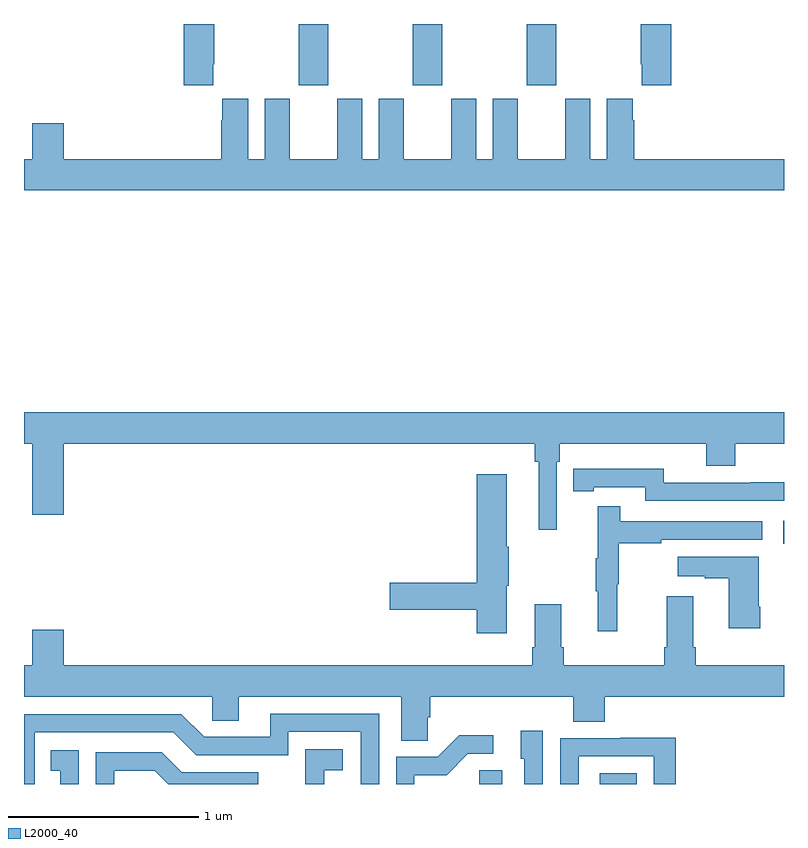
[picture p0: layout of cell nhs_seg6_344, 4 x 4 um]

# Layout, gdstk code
import gdstk
lib = gdstk.Library(unit=1e-6, precision=1e-09)
def R(c, l, rs):  # rectangles x0, y0, x1, y1
    for r in rs: c.add(gdstk.rectangle(r[:2], r[2:], *l))
def A(c, l, x, y, w, h, nx, ny, dx, dy):  # array of equal rectangles
    R(c, l, [(x+i*dx, y+j*dy, x+i*dx+w, y+j*dy+h) for i in range(nx) for j in range(ny)])
def P(c, l, *ps):  # polygons
    for p in ps: c.add(gdstk.Polygon(p, *l))
L2000_40 = (2000, 40)

nhs_seg6_344 = lib.new_cell('nhs_seg6_344')
A(nhs_seg6_344, L2000_40, 130.447, 993.177, 0.155, 0.323, 3, 1, 0.6, 0)
R(nhs_seg6_344, L2000_40, [(131.397,989.5,131.518,989.573), (132.029,989.5,132.226,989.557), (132.996,990.765,133,990.886)])
P(nhs_seg6_344, L2000_40, [(129.997,993.289),(130.002,993.289),(130.002,993.5),(129.842,993.5),(129.842,993.177),(129.997,993.177)],
  [(132.407,993.5),(132.247,993.5),(132.247,993.289),(132.251,993.289),(132.251,993.177),(132.407,993.177)],
  [(133,992.788),(132.212,992.788),(132.212,992.993),(132.205,992.993),(132.205,993.106),(132.068,993.106),(132.068,992.788),(131.98,992.788),(131.98,993.106),(131.849,993.106),(131.849,992.788),(131.599,992.788),(131.599,993.106),(131.468,993.106),(131.468,992.788),(131.38,992.788),(131.38,993.106),(131.249,993.106),(131.249,992.788),(130.999,992.788),(130.999,993.106),(130.868,993.106),(130.868,992.788),(130.78,992.788),(130.78,993.106),(130.649,993.106),(130.649,992.788),(130.399,992.788),(130.399,993.106),(130.268,993.106),(130.268,992.788),(130.18,992.788),(130.18,993.106),(130.043,993.106),(130.043,992.993),(130.037,992.993),(130.037,992.788),(129.208,992.788),(129.208,992.977),(129.044,992.977),(129.044,992.788),(129,992.788),(129,992.624),(133,992.624)],
  [(131.805,991.196),(131.819,991.196),(131.819,991.292),(132.59,991.292),(132.59,991.175),(132.743,991.175),(132.743,991.292),(133,991.292),(133,991.456),(129,991.456),(129,991.292),(129.044,991.292),(129.044,990.918),(129.208,990.918),(129.208,991.292),(131.689,991.292),(131.689,991.196),(131.708,991.196),(131.708,990.837),(131.805,990.837)],
  [(133,991.088),(132.826,991.088),(132.826,991.086),(132.366,991.086),(132.366,991.159),(131.998,991.159),(131.998,991.158),(131.89,991.158),(131.89,991.042),(131.998,991.042),(131.998,991.062),(132.27,991.062),(132.27,990.99),(133,990.99)],
  [(131.542,990.543),(131.55,990.543),(131.55,990.749),(131.542,990.749),(131.542,991.129),(131.384,991.129),(131.384,990.56),(130.926,990.56),(130.926,990.418),(131.384,990.418),(131.384,990.294),(131.542,990.294)],
  [(132.122,990.552),(132.13,990.552),(132.13,990.766),(132.353,990.766),(132.353,990.786),(132.886,990.786),(132.886,990.882),(132.137,990.882),(132.137,990.961),(132.02,990.961),(132.02,990.689),(132.009,990.689),(132.009,990.515),(132.02,990.515),(132.02,990.303),(132.122,990.303)],
  [(132.876,990.433),(132.868,990.433),(132.868,990.697),(132.441,990.697),(132.441,990.593),(132.584,990.593),(132.584,990.583),(132.71,990.583),(132.71,990.321),(132.876,990.321)],
  [(131.124,989.851),(131.138,989.851),(131.138,989.96),(131.891,989.96),(131.891,989.827),(132.056,989.827),(132.056,989.96),(133,989.96),(133,990.124),(132.536,990.124),(132.536,990.22),(132.523,990.22),(132.523,990.487),(132.383,990.487),(132.383,990.22),(132.371,990.22),(132.371,990.124),(131.84,990.124),(131.84,990.22),(131.827,990.22),(131.827,990.445),(131.687,990.445),(131.687,990.22),(131.675,990.22),(131.675,990.124),(129.208,990.124),(129.208,990.313),(129.044,990.313),(129.044,990.124),(129,990.124),(129,989.96),(129.99,989.96),(129.99,989.833),(130.129,989.833),(130.129,989.96),(130.985,989.96),(130.985,989.728),(131.124,989.728)],
  [(129.057,989.772),(129.786,989.772),(129.906,989.652),(130.392,989.652),(130.392,989.775),(130.773,989.775),(130.773,989.5),(130.869,989.5),(130.869,989.871),(130.295,989.871),(130.295,989.748),(129.948,989.748),(129.828,989.868),(129,989.868),(129,989.5),(129.057,989.5)],
  [(131.73,989.779),(131.615,989.779),(131.615,989.634),(131.634,989.634),(131.634,989.5),(131.73,989.5)],
  [(131.055,989.547),(131.224,989.547),(131.335,989.658),(131.47,989.658),(131.47,989.756),(131.291,989.756),(131.178,989.643),(130.959,989.643),(130.959,989.5),(131.055,989.5)],
  [(131.919,989.646),(132.315,989.646),(132.315,989.5),(132.431,989.5),(132.431,989.744),(132.139,989.744),(132.139,989.742),(131.823,989.742),(131.823,989.5),(131.919,989.5)],
  [(130.58,989.573),(130.678,989.573),(130.678,989.683),(130.48,989.683),(130.48,989.5),(130.58,989.5)],
  [(129.288,989.677),(129.142,989.677),(129.142,989.571),(129.191,989.571),(129.191,989.5),(129.288,989.5)],
  [(129.474,989.57),(129.688,989.57),(129.758,989.5),(130.233,989.5),(130.233,989.562),(129.829,989.562),(129.724,989.667),(129.378,989.667),(129.378,989.5),(129.474,989.5)])

lib.write_gds('nhs_seg6_344.gds')
